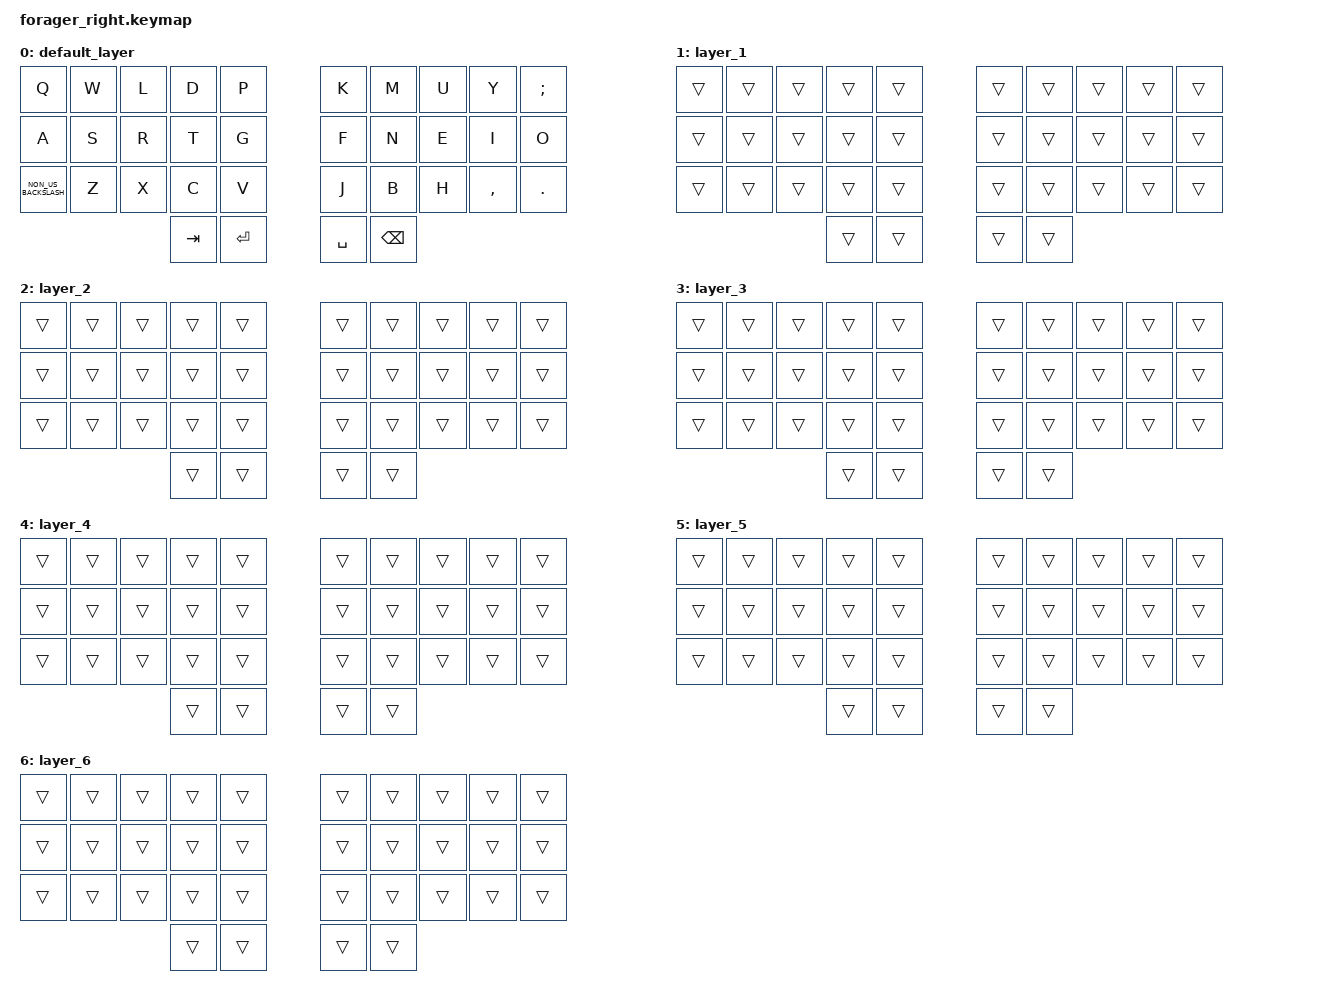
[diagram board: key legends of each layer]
#include <behaviors.dtsi>
#include <dt-bindings/zmk/keys.h>

/ {
    combos {
        compatible = "zmk,combos";

        Escape {
            bindings = <&kp ESC>;
            key-positions = <0 1>;
        };

        CapsWord {
            bindings = <&caps_word>;
            key-positions = <10 11>;
        };
    };

    keymap {
        compatible = "zmk,keymap";

        default_layer {
            bindings = <
&kp Q                 &kp W  &kp L  &kp D    &kp P      &kp K      &kp M     &kp U  &kp Y      &kp SEMICOLON
&kp A                 &kp S  &kp R  &kp T    &kp G      &kp F      &kp N     &kp E  &kp I      &kp O
&kp NON_US_BACKSLASH  &kp Z  &kp X  &kp C    &kp V      &kp J      &kp B     &kp H  &kp COMMA  &kp PERIOD
                                    &kp TAB  &kp ENTER  &kp SPACE  &kp BSPC
            >;
        };

        layer_1 {
            bindings = <
&trans  &trans  &trans  &trans  &trans  &trans  &trans  &trans  &trans  &trans
&trans  &trans  &trans  &trans  &trans  &trans  &trans  &trans  &trans  &trans
&trans  &trans  &trans  &trans  &trans  &trans  &trans  &trans  &trans  &trans
                        &trans  &trans  &trans  &trans
            >;
        };

        layer_2 {
            bindings = <
&trans  &trans  &trans  &trans  &trans  &trans  &trans  &trans  &trans  &trans
&trans  &trans  &trans  &trans  &trans  &trans  &trans  &trans  &trans  &trans
&trans  &trans  &trans  &trans  &trans  &trans  &trans  &trans  &trans  &trans
                        &trans  &trans  &trans  &trans
            >;
        };

        layer_3 {
            bindings = <
&trans  &trans  &trans  &trans  &trans  &trans  &trans  &trans  &trans  &trans
&trans  &trans  &trans  &trans  &trans  &trans  &trans  &trans  &trans  &trans
&trans  &trans  &trans  &trans  &trans  &trans  &trans  &trans  &trans  &trans
                        &trans  &trans  &trans  &trans
            >;
        };

        layer_4 {
            bindings = <
&trans  &trans  &trans  &trans  &trans  &trans  &trans  &trans  &trans  &trans
&trans  &trans  &trans  &trans  &trans  &trans  &trans  &trans  &trans  &trans
&trans  &trans  &trans  &trans  &trans  &trans  &trans  &trans  &trans  &trans
                        &trans  &trans  &trans  &trans
            >;
        };

        layer_5 {
            bindings = <
&trans  &trans  &trans  &trans  &trans  &trans  &trans  &trans  &trans  &trans
&trans  &trans  &trans  &trans  &trans  &trans  &trans  &trans  &trans  &trans
&trans  &trans  &trans  &trans  &trans  &trans  &trans  &trans  &trans  &trans
                        &trans  &trans  &trans  &trans
            >;
        };

        layer_6 {
            bindings = <
&trans  &trans  &trans  &trans  &trans  &trans  &trans  &trans  &trans  &trans
&trans  &trans  &trans  &trans  &trans  &trans  &trans  &trans  &trans  &trans
&trans  &trans  &trans  &trans  &trans  &trans  &trans  &trans  &trans  &trans
                        &trans  &trans  &trans  &trans
            >;
        };
    };
};
